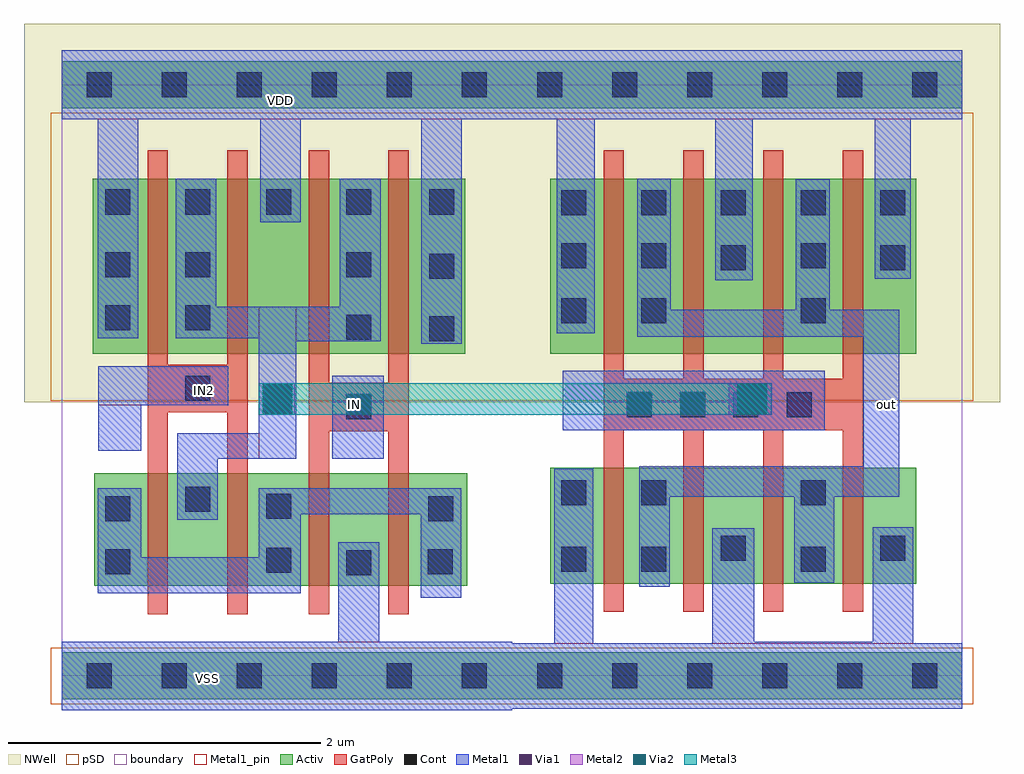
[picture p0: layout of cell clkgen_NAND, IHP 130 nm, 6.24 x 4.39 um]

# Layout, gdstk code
from math import pi, radians
import gdstk
lib = gdstk.Library(unit=1e-6, precision=1e-09)
def R(c, l, rs):  # rectangles x0, y0, x1, y1
    for r in rs: c.add(gdstk.rectangle(r[:2], r[2:], *l))
def A(c, l, x, y, w, h, nx, ny, dx, dy):  # array of equal rectangles
    R(c, l, [(x+i*dx, y+j*dy, x+i*dx+w, y+j*dy+h) for i in range(nx) for j in range(ny)])
def P(c, l, *ps):  # polygons
    for p in ps: c.add(gdstk.Polygon(p, *l))
Activ = (1, 0)
GatPoly = (5, 0)
Cont = (6, 0)
Metal1 = (8, 0)
Metal1_pin = (8, 2)
Metal2 = (10, 0)
pSD = (14, 0)
Via1 = (19, 0)
Via2 = (29, 0)
Metal3 = (30, 0)
NWell = (31, 0)
boundary = (189, 4)

sg13g2_inv_4 = lib.new_cell('sg13g2_inv_4')
R(sg13g2_inv_4, Activ, [(0,-0.15,2.88,0.15), (0.245,0.59,2.585,1.33), (0.245,2.06,2.585,3.18), (0,3.63,2.88,3.93)])
P(sg13g2_inv_4, GatPoly, [(0.585,0.41),(0.585,3.36),(0.715,3.36),(0.715,1.9),(1.095,1.9),(1.095,3.36),(1.225,3.36),(1.225,1.9),(1.605,1.9),(1.605,3.36),(1.735,3.36),(1.735,1.9),(2.115,1.9),(2.115,3.36),(2.245,3.36),(2.245,0.41),(2.115,0.41),(2.115,1.57),(1.735,1.57),(1.735,0.41),(1.605,0.41),(1.605,1.57),(1.225,1.57),(1.225,0.41),(1.095,0.41),(1.095,1.57),(0.715,1.57),(0.715,0.41)])
A(sg13g2_inv_4, Cont, 0.735, 1.655, 0.16, 0.16, 4, 1, 0.34, 0)
A(sg13g2_inv_4, Cont, 0.315, 2.945, 0.16, 0.16, 5, 1, 0.51, 0)
R(sg13g2_inv_4, Cont, [(0.16,-0.08,0.32,0.08), (0.16,-0.08,0.32,0.08), (0.64,-0.08,0.8,0.08), (0.64,-0.08,0.8,0.08), (1.12,-0.08,1.28,0.08), (1.12,-0.08,1.28,0.08), (1.6,-0.08,1.76,0.08), (1.6,-0.08,1.76,0.08), (2.08,-0.08,2.24,0.08), (2.08,-0.08,2.24,0.08), (2.56,-0.08,2.72,0.08), (2.56,-0.08,2.72,0.08), (0.315,0.665,0.475,0.825), (0.825,0.665,0.985,0.825), (1.845,0.665,2.005,0.825), (1.335,0.735,1.495,0.895), (2.355,0.735,2.515,0.895), (0.315,1.09,0.475,1.25), (0.825,1.09,0.985,1.25), (1.845,1.09,2.005,1.25), (0.315,2.255,0.475,2.415), (0.825,2.255,0.985,2.415), (1.845,2.255,2.005,2.415), (1.335,2.595,1.495,2.755), (2.355,2.595,2.515,2.755), (0.315,2.605,0.475,2.765), (0.825,2.605,0.985,2.765), (1.845,2.605,2.005,2.765), (0.16,3.7,0.32,3.86), (0.16,3.7,0.32,3.86), (0.64,3.7,0.8,3.86), (0.64,3.7,0.8,3.86), (1.12,3.7,1.28,3.86), (1.12,3.7,1.28,3.86), (1.6,3.7,1.76,3.86), (1.6,3.7,1.76,3.86), (2.08,3.7,2.24,3.86), (2.08,3.7,2.24,3.86), (2.56,3.7,2.72,3.86), (2.56,3.7,2.72,3.86)])
R(sg13g2_inv_4, Metal1, [(0.325,1.57,2,1.95)])
P(sg13g2_inv_4, Metal1, [(0.285,2.19),(0.285,3.56),(0,3.56),(0,4),(2.88,4),(2.88,3.56),(2.55,3.56),(2.55,2.54),(2.32,2.54),(2.32,3.56),(1.54,3.56),(1.54,2.53),(1.3,2.53),(1.3,3.56),(0.53,3.56),(0.53,2.19)],
  [(0,-0.21),(0,0.21),(0.27,0.21),(0.27,1.325),(0.52,1.325),(0.52,0.21),(1.28,0.21),(1.28,0.945),(1.55,0.945),(1.55,0.22),(2.305,0.22),(2.305,0.95),(2.565,0.95),(2.565,0.21),(2.88,0.21),(2.88,-0.21)],
  [(0.815,0.57),(0.815,1.34),(2.245,1.34),(2.245,2.17),(0.8,2.17),(0.8,3.18),(1.015,3.18),(1.015,2.34),(1.815,2.34),(1.815,3.175),(2.03,3.175),(2.03,2.34),(2.475,2.34),(2.475,1.145),(2.06,1.145),(2.06,0.595),(1.805,0.595),(1.805,1.145),(1.01,1.145),(1.01,0.57)])
R(sg13g2_inv_4, Metal1_pin, [(0,-0.21,2.88,0.21), (2.245,1.145,2.475,2.34), (0.325,1.57,2,1.95), (0,3.56,2.88,4)])
R(sg13g2_inv_4, pSD, [(-0.07,-0.18,2.95,0.18), (-0.07,1.76,2.95,3.6)])
R(sg13g2_inv_4, NWell, [(-0.24,1.75,3.12,4.17)])
R(sg13g2_inv_4, boundary, [(0,0,2.88,3.78)])
sg13g2_inv_4.add(gdstk.Label('VSS', (1.405,0.005), layer=8, texttype=25))
sg13g2_inv_4.add(gdstk.Label('Y', (2.36,1.755), layer=8, texttype=25))
sg13g2_inv_4.add(gdstk.Label('VDD', (1.925,3.8), layer=8, texttype=25))
sg13g2_inv_4.add(gdstk.Label('A', (1.12,1.76), layer=8, texttype=25))

sg13g2_nand2_2 = lib.new_cell('sg13g2_nand2_2')
R(sg13g2_nand2_2, Activ, [(0,-0.15,2.88,0.15), (0.285,0.575,2.67,1.295), (0.3,2.06,2.68,3.18), (0,3.63,2.88,3.93)])
P(sg13g2_nand2_2, GatPoly, [(1.69,0.395),(1.69,3.36),(1.82,3.36),(1.82,1.99),(2.2,1.99),(2.2,3.36),(2.33,3.36),(2.33,0.395),(2.2,0.395),(2.2,1.685),(1.82,1.685),(1.82,0.395)],
  [(0.66,0.395),(0.66,3.36),(0.79,3.36),(0.79,1.875),(1.17,1.875),(1.17,3.36),(1.3,3.36),(1.3,0.395),(1.17,0.395),(1.17,1.565),(0.79,1.565),(0.79,0.395)])
A(sg13g2_nand2_2, Cont, 1.6, -0.08, 0.16, 0.16, 3, 2, 0.48, 3.78)
A(sg13g2_nand2_2, Cont, 0.9, 2.15, 0.16, 0.16, 1, 3, 0, 0.4)
R(sg13g2_nand2_2, Cont, [(0.16,-0.08,0.32,0.08), (0.16,-0.08,0.32,0.08), (0.64,-0.08,0.8,0.08), (0.64,-0.08,0.8,0.08), (1.12,-0.08,1.28,0.08), (1.12,-0.08,1.28,0.08), (1.6,-0.08,1.76,0.08), (0.9,0.645,1.06,0.805), (0.38,0.65,0.54,0.81), (2.44,0.65,2.6,0.81), (1.41,0.66,1.57,0.82), (0.375,0.99,0.535,1.15), (2.44,0.99,2.6,1.15), (1.41,1.005,1.57,1.165), (1.93,1.05,2.09,1.21), (0.9,1.64,1.06,1.8), (1.93,1.76,2.09,1.92), (0.37,2.14,0.53,2.3), (1.93,2.21,2.09,2.37), (2.44,2.21,2.6,2.37), (0.37,2.54,0.53,2.7), (1.93,2.55,2.09,2.71), (2.44,2.55,2.6,2.71), (0.37,2.95,0.53,3.11), (1.41,2.95,1.57,3.11), (1.93,2.95,2.09,3.11), (2.44,2.95,2.6,3.11), (0.16,3.7,0.32,3.86), (0.16,3.7,0.32,3.86), (0.64,3.7,0.8,3.86), (0.64,3.7,0.8,3.86), (1.12,3.7,1.28,3.86), (1.12,3.7,1.28,3.86), (1.6,3.7,1.76,3.86)])
R(sg13g2_nand2_2, Metal1, [(0.82,1.39,1.15,1.92)])
P(sg13g2_nand2_2, Metal1, [(0,-0.22),(0,0.22),(0.85,0.22),(0.85,0.855),(1.11,0.855),(1.11,0.22),(2.88,0.22),(2.88,-0.22)],
  [(0.325,0.5),(0.325,1.2),(1.62,1.2),(1.62,0.76),(2.37,0.76),(2.37,1.2),(2.65,1.2),(2.65,0.53),(1.35,0.53),(1.35,1.035),(0.585,1.035),(0.585,0.5)],
  [(1.88,1),(1.88,1.39),(1.38,1.39),(1.38,2.14),(0.84,2.14),(0.84,3.18),(1.1,3.18),(1.1,2.36),(1.89,2.36),(1.89,3.18),(2.15,3.18),(2.15,2.16),(1.62,2.16),(1.62,1.55),(2.14,1.55),(2.14,1)],
  [(2.37,1.44),(2.37,1.73),(1.815,1.73),(1.815,1.98),(2.645,1.98),(2.645,1.44)],
  [(0.32,2.125),(0.32,3.56),(0,3.56),(0,4),(2.88,4),(2.88,3.56),(2.65,3.56),(2.65,2.16),(2.39,2.16),(2.39,3.56),(1.61,3.56),(1.61,2.9),(1.35,2.9),(1.35,3.56),(0.58,3.56),(0.58,2.125)])
R(sg13g2_nand2_2, Metal1_pin, [(0,-0.22,2.88,0.22), (0.82,1.39,1.15,1.92), (1.38,1.39,1.62,2.36), (1.815,1.73,2.645,1.98), (0,3.56,2.88,4)])
R(sg13g2_nand2_2, pSD, [(-0.07,-0.18,2.95,0.18), (-0.07,1.76,2.95,3.6)])
R(sg13g2_nand2_2, NWell, [(-0.24,1.75,3.12,4.17)])
R(sg13g2_nand2_2, boundary, [(0,0,2.88,3.78)])
sg13g2_nand2_2.add(gdstk.Label('VSS', (0.51,0), layer=8, texttype=25))
sg13g2_nand2_2.add(gdstk.Label('A', (2.01,1.84), layer=8, texttype=25))
sg13g2_nand2_2.add(gdstk.Label('VDD', (0.97,3.78), layer=8, texttype=25))
sg13g2_nand2_2.add(gdstk.Label('B', (0.98,1.655), layer=8, texttype=25))
sg13g2_nand2_2.add(gdstk.Label('Y', (1.48,2.105), layer=8, texttype=25))

clkgen_nand = lib.new_cell('clkgen_NAND')
R(clkgen_nand, Metal2, [(33.345,-28.155,33.575,-27.955), (36.35,-28.155,36.625,-27.955)])
R(clkgen_nand, Via1, [(33.37,-28.15,33.56,-27.96), (36.405,-28.15,36.595,-27.96)])
R(clkgen_nand, Via2, [(33.37,-28.15,33.56,-27.96), (36.405,-28.15,36.595,-27.96)])
R(clkgen_nand, Metal3, [(33.345,-28.155,36.625,-27.955)])
clkgen_nand.add(gdstk.Reference(sg13g2_inv_4, (34.965,-29.825)))
clkgen_nand.add(gdstk.Reference(sg13g2_nand2_2, (34.965,-29.825), rotation=pi, x_reflection=True))
clkgen_nand.add(gdstk.Label('IN', (33.96,-28.09), layer=8, texttype=1))
clkgen_nand.add(gdstk.Label('VDD', (33.485,-26.145), layer=8, texttype=1))
clkgen_nand.add(gdstk.Label('VSS', (33.015,-29.84), layer=8, texttype=1))
clkgen_nand.add(gdstk.Label('out', (37.36,-28.09), layer=8, texttype=1))
clkgen_nand.add(gdstk.Label('IN2', (33,-28), layer=8, texttype=1))

lib.write_gds('clkgen_NAND.gds')
